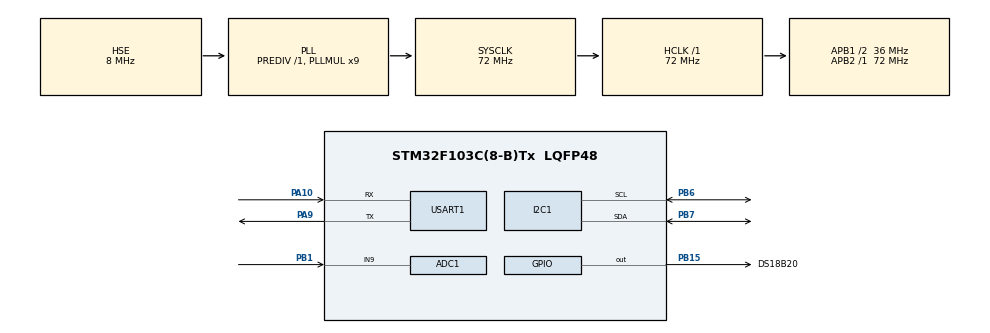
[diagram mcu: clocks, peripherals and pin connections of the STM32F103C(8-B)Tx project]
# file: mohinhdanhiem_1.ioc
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ADC1.Channel-0\#ChannelRegularConversion=ADC_CHANNEL_9
ADC1.NbrOfConversionFlag=1
ADC1.Rank-0\#ChannelRegularConversion=1
ADC1.SamplingTime-0\#ChannelRegularConversion=ADC_SAMPLETIME_1CYCLE_5
ADC1.master=1
FREERTOS.Tasks01=Task1,0,128,readTemp,Default,NULL,Dynamic,NULL,NULL;Task2,0,128,readHum,Default,NULL,Dynamic,NULL,NULL;Task3,1,128,Display_LCD_UART,Default,NULL,Dynamic,NULL,NULL
Mcu.Family=STM32F1
Mcu.Name=STM32F103C(8-B)Tx
Mcu.Package=LQFP48
NVIC.PriorityGroup=NVIC_PRIORITYGROUP_4
NVIC.TIM1_UP_IRQn=true\:15\:0\:false\:false\:true\:false\:false\:true\:true
NVIC.TimeBase=TIM1_UP_IRQn
NVIC.TimeBaseIP=TIM1
NVIC.USART1_IRQn=true\:5\:0\:false\:false\:true\:true\:true\:true\:true
PA10.Mode=Asynchronous
PA10.Signal=USART1_RX
PA13.Mode=Serial_Wire
PA13.Signal=SYS_JTMS-SWDIO
PA14.Mode=Serial_Wire
PA14.Signal=SYS_JTCK-SWCLK
PA9.Mode=Asynchronous
PA9.Signal=USART1_TX
PB1.Signal=ADCx_IN9
PB15.GPIO_Label=DS18B20
PB15.Signal=GPIO_Output
PB6.Mode=I2C
PB6.Signal=I2C1_SCL
PB7.Mode=I2C
PB7.Signal=I2C1_SDA
PD0-OSC_IN.Mode=HSE-External-Oscillator
PD0-OSC_IN.Signal=RCC_OSC_IN
PD1-OSC_OUT.Mode=HSE-External-Oscillator
PD1-OSC_OUT.Signal=RCC_OSC_OUT
ProjectManager.HeapSize=0x200
ProjectManager.StackSize=0x400
ProjectManager.TargetToolchain=STM32CubeIDE
RCC.ADCPresc=RCC_ADCPCLK2_DIV6
RCC.AHBFreq_Value=72000000
RCC.APB1CLKDivider=RCC_HCLK_DIV2
RCC.APB1Freq_Value=36000000
RCC.APB1TimFreq_Value=72000000
RCC.APB2Freq_Value=72000000
RCC.APB2TimFreq_Value=72000000
RCC.HCLKFreq_Value=72000000
RCC.PLLMUL=RCC_PLL_MUL9
RCC.PLLSourceVirtual=RCC_PLLSOURCE_HSE
RCC.SYSCLKFreq_VALUE=72000000
RCC.SYSCLKSource=RCC_SYSCLKSOURCE_PLLCLK
RCC.USBFreq_Value=72000000
SH.ADCx_IN9.0=ADC1_IN9,IN9
TIM4.Prescaler=72-1
USART1.VirtualMode=VM_ASYNC
VP_FREERTOS_VS_CMSIS_V1.Mode=CMSIS_V1
VP_SYS_VS_tim1.Mode=TIM1
VP_TIM4_VS_ClockSourceINT.Mode=Internal
board=custom

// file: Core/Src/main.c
/* USER CODE BEGIN Header */
/**
  ******************************************************************************
  * @file           : main.c
  * @brief          : Main program body
  ******************************************************************************
  * @attention
  *
  * Copyright (c) 2025 STMicroelectronics.
  * All rights reserved.
  *
  * This software is licensed under terms that can be found in the LICENSE file
  * in the root directory of this software component.
  * If no LICENSE file comes with this software, it is provided AS-IS.
  *
  ******************************************************************************
  */
/* USER CODE END Header */
#include "main.h"
#include "cmsis_os.h"

/* USER CODE BEGIN Includes */
#include "stdio.h"
#include "DS18B20.h"
#include "liquidcrystal_i2c.h"
#include "string.h"
/* USER CODE END Includes */

 ADC_HandleTypeDef hadc1;

I2C_HandleTypeDef hi2c1;

TIM_HandleTypeDef htim4;

UART_HandleTypeDef huart1;

osThreadId Task1Handle;
osThreadId Task2Handle;
osThreadId Task3Handle;
/* USER CODE BEGIN PV */
DS18B20_Name DS1;
uint16_t Temp = 0;    // Nhiệt độ từ DS18B20
uint16_t Humidity = 0; // �?ộ ẩm đất
uint32_t delay_temp = 500;
uint32_t delay_soil = 500;

// UART variables
uint8_t data_rx;
uint8_t uart_buffer[100];
uint8_t start_flag = 0; // Flag to control UART transmission
/* USER CODE END PV */

void SystemClock_Config(void);
static void MX_GPIO_Init(void);
static void MX_ADC1_Init(void);
static void MX_I2C1_Init(void);
static void MX_TIM4_Init(void);
static void MX_USART1_UART_Init(void);
void readTemp(void const * argument);
void readHum(void const * argument);
void Display_LCD_UART(void const * argument);

int main(void)
{

  /* MCU Configuration--------------------------------------------------------*/

  /* Reset of all peripherals, Initializes the Flash interface and the Systick. */
  HAL_Init();

  /* Configure the system clock */
  SystemClock_Config();

  /* Initialize all configured peripherals */
  MX_GPIO_Init();
  MX_ADC1_Init();
  MX_I2C1_Init();
  MX_TIM4_Init();
  MX_USART1_UART_Init();
  /* USER CODE BEGIN 2 */
      HAL_ADC_Start(&hadc1);
      DS18B20_Init(&DS1, &htim4, DS18B20_GPIO_Port, DS18B20_Pin);
      HD44780_Init(2);
      HD44780_Clear();

  /* USER CODE END 2 */

  /* Create the thread(s) */
  /* definition and creation of Task1 */
  osThreadDef(Task1, readTemp, osPriorityNormal, 0, 128);
  Task1Handle = osThreadCreate(osThread(Task1), NULL);

  /* definition and creation of Task2 */
  osThreadDef(Task2, readHum, osPriorityNormal, 0, 128);
  Task2Handle = osThreadCreate(osThread(Task2), NULL);

  /* definition and creation of Task3 */
  osThreadDef(Task3, Display_LCD_UART, osPriorityAboveNormal, 0, 128);
  Task3Handle = osThreadCreate(osThread(Task3), NULL);

  /* Start scheduler */
  osKernelStart();

  /* We should never get here as control is now taken by the scheduler */
  /* Infinite loop */
  while (1)
  {

  }
}

void SystemClock_Config(void)
{
  RCC_OscInitTypeDef RCC_OscInitStruct = {0};
  RCC_ClkInitTypeDef RCC_ClkInitStruct = {0};
  RCC_PeriphCLKInitTypeDef PeriphClkInit = {0};

  /** Initializes the RCC Oscillators according to the specified parameters
  * in the RCC_OscInitTypeDef structure.
  */
  RCC_OscInitStruct.OscillatorType = RCC_OSCILLATORTYPE_HSE;
  RCC_OscInitStruct.HSEState = RCC_HSE_ON;
  RCC_OscInitStruct.HSEPredivValue = RCC_HSE_PREDIV_DIV1;
  RCC_OscInitStruct.HSIState = RCC_HSI_ON;
  RCC_OscInitStruct.PLL.PLLState = RCC_PLL_ON;
  RCC_OscInitStruct.PLL.PLLSource = RCC_PLLSOURCE_HSE;
  RCC_OscInitStruct.PLL.PLLMUL = RCC_PLL_MUL9;
  if (HAL_RCC_OscConfig(&RCC_OscInitStruct) != HAL_OK)
  {
    Error_Handler();
  }

  /** Initializes the CPU, AHB and APB buses clocks
  */
  RCC_ClkInitStruct.ClockType = RCC_CLOCKTYPE_HCLK|RCC_CLOCKTYPE_SYSCLK
                              |RCC_CLOCKTYPE_PCLK1|RCC_CLOCKTYPE_PCLK2;
  RCC_ClkInitStruct.SYSCLKSource = RCC_SYSCLKSOURCE_PLLCLK;
  RCC_ClkInitStruct.AHBCLKDivider = RCC_SYSCLK_DIV1;
  RCC_ClkInitStruct.APB1CLKDivider = RCC_HCLK_DIV2;
  RCC_ClkInitStruct.APB2CLKDivider = RCC_HCLK_DIV1;

  if (HAL_RCC_ClockConfig(&RCC_ClkInitStruct, FLASH_LATENCY_2) != HAL_OK)
  {
    Error_Handler();
  }
  PeriphClkInit.PeriphClockSelection = RCC_PERIPHCLK_ADC;
  PeriphClkInit.AdcClockSelection = RCC_ADCPCLK2_DIV6;
  if (HAL_RCCEx_PeriphCLKConfig(&PeriphClkInit) != HAL_OK)
  {
    Error_Handler();
  }
}

static void MX_ADC1_Init(void)
{

  ADC_ChannelConfTypeDef sConfig = {0};

  /** Common config
  */
  hadc1.Instance = ADC1;
  hadc1.Init.ScanConvMode = ADC_SCAN_DISABLE;
  hadc1.Init.ContinuousConvMode = DISABLE;
  hadc1.Init.DiscontinuousConvMode = DISABLE;
  hadc1.Init.ExternalTrigConv = ADC_SOFTWARE_START;
  hadc1.Init.DataAlign = ADC_DATAALIGN_RIGHT;
  hadc1.Init.NbrOfConversion = 1;
  if (HAL_ADC_Init(&hadc1) != HAL_OK)
  {
    Error_Handler();
  }

  /** Configure Regular Channel
  */
  sConfig.Channel = ADC_CHANNEL_9;
  sConfig.Rank = ADC_REGULAR_RANK_1;
  sConfig.SamplingTime = ADC_SAMPLETIME_1CYCLE_5;
  if (HAL_ADC_ConfigChannel(&hadc1, &sConfig) != HAL_OK)
  {
    Error_Handler();
  }

}

static void MX_I2C1_Init(void)
{

  hi2c1.Instance = I2C1;
  hi2c1.Init.ClockSpeed = 100000;
  hi2c1.Init.DutyCycle = I2C_DUTYCYCLE_2;
  hi2c1.Init.OwnAddress1 = 0;
  hi2c1.Init.AddressingMode = I2C_ADDRESSINGMODE_7BIT;
  hi2c1.Init.DualAddressMode = I2C_DUALADDRESS_DISABLE;
  hi2c1.Init.OwnAddress2 = 0;
  hi2c1.Init.GeneralCallMode = I2C_GENERALCALL_DISABLE;
  hi2c1.Init.NoStretchMode = I2C_NOSTRETCH_DISABLE;
  if (HAL_I2C_Init(&hi2c1) != HAL_OK)
  {
    Error_Handler();
  }

}

static void MX_TIM4_Init(void)
{

  TIM_ClockConfigTypeDef sClockSourceConfig = {0};
  TIM_MasterConfigTypeDef sMasterConfig = {0};

  htim4.Instance = TIM4;
  htim4.Init.Prescaler = 72-1;
  htim4.Init.CounterMode = TIM_COUNTERMODE_UP;
  htim4.Init.Period = 65535;
  htim4.Init.ClockDivision = TIM_CLOCKDIVISION_DIV1;
  htim4.Init.AutoReloadPreload = TIM_AUTORELOAD_PRELOAD_DISABLE;
  if (HAL_TIM_Base_Init(&htim4) != HAL_OK)
  {
    Error_Handler();
  }
  sClockSourceConfig.ClockSource = TIM_CLOCKSOURCE_INTERNAL;
  if (HAL_TIM_ConfigClockSource(&htim4, &sClockSourceConfig) != HAL_OK)
  {
    Error_Handler();
  }
  sMasterConfig.MasterOutputTrigger = TIM_TRGO_RESET;
  sMasterConfig.MasterSlaveMode = TIM_MASTERSLAVEMODE_DISABLE;
  if (HAL_TIMEx_MasterConfigSynchronization(&htim4, &sMasterConfig) != HAL_OK)
  {
    Error_Handler();
  }

}

static void MX_USART1_UART_Init(void)
{

  huart1.Instance = USART1;
  huart1.Init.BaudRate = 115200;
  huart1.Init.WordLength = UART_WORDLENGTH_8B;
  huart1.Init.StopBits = UART_STOPBITS_1;
  huart1.Init.Parity = UART_PARITY_NONE;
  huart1.Init.Mode = UART_MODE_TX_RX;
  huart1.Init.HwFlowCtl = UART_HWCONTROL_NONE;
  huart1.Init.OverSampling = UART_OVERSAMPLING_16;
  if (HAL_UART_Init(&huart1) != HAL_OK)
  {
    Error_Handler();
  }

}

static void MX_GPIO_Init(void)
{
  GPIO_InitTypeDef GPIO_InitStruct = {0};

  /* GPIO Ports Clock Enable */
  __HAL_RCC_GPIOD_CLK_ENABLE();
  __HAL_RCC_GPIOB_CLK_ENABLE();
  __HAL_RCC_GPIOA_CLK_ENABLE();

  /*Configure GPIO pin Output Level */
  HAL_GPIO_WritePin(DS18B20_GPIO_Port, DS18B20_Pin, GPIO_PIN_RESET);

  /*Configure GPIO pin : DS18B20_Pin */
  GPIO_InitStruct.Pin = DS18B20_Pin;
  GPIO_InitStruct.Mode = GPIO_MODE_OUTPUT_PP;
  GPIO_InitStruct.Pull = GPIO_NOPULL;
  GPIO_InitStruct.Speed = GPIO_SPEED_FREQ_LOW;
  HAL_GPIO_Init(DS18B20_GPIO_Port, &GPIO_InitStruct);

}

void readTemp(void const * argument)
{
  /* USER CODE BEGIN 5 */
  /* Infinite loop */
  for(;;)
  {
	  Temp = DS18B20_ReadTemp(&DS1);
	  osDelay(delay_temp);
  }
  /* USER CODE END 5 */
}

void readHum(void const * argument)
{
  /* USER CODE BEGIN readHum */
  /* Infinite loop */
  for(;;)
  {
	  HAL_ADC_Start(&hadc1);
	  HAL_ADC_PollForConversion(&hadc1, 1000);
	  uint16_t Hum = HAL_ADC_GetValue(&hadc1);
	  Humidity = (Hum * 100) / 4095;
	  HAL_ADC_Stop(&hadc1);
	  osDelay(delay_soil);
  }
  /* USER CODE END readHum */
}

void Display_LCD_UART(void const * argument)
{
  /* USER CODE BEGIN Display_LCD_UART */
  /* Infinite loop */
  for(;;)
  {
	  // Display on LCD
	  char buffer[32];
	  HD44780_Clear();
	  HD44780_SetCursor(0, 0);
	  sprintf(buffer, "Temperature: %d C", Temp);
	  HD44780_PrintStr(buffer);

	  HD44780_SetCursor(0, 1);
	  sprintf(buffer, "Humidity: %d %%", Humidity);
	  HD44780_PrintStr(buffer);

	  // Transmit data via UART
	  if (start_flag)
	         {
	             sprintf(buffer, "Temperature: %d; Humidity: %d\n", Temp, Humidity);
	             HAL_UART_Transmit(&huart1, (uint8_t *)buffer, strlen(buffer), 1000);
	         }

	  osDelay(500); // Delay to control display update frequency
  }
  /* USER CODE END Display_LCD_UART */
}

/* UART Callback */
void HAL_UART_RxCpltCallback(UART_HandleTypeDef *huart)
{
    if (huart->Instance == USART1)
    {
        uart_buffer[strlen((char *)uart_buffer)] = data_rx;
        if (data_rx == '\n')
        {
            if (strstr((char *)uart_buffer, "START") != NULL)
                start_flag = 1;
            else if (strstr((char *)uart_buffer, "STOP") != NULL)
                start_flag = 0;
            else if (strstr((char *)uart_buffer, "SET_DELAY_TEMP") != NULL)
                sscanf((char *)uart_buffer, "SET_DELAY_TEMP=%lu", &delay_temp);
            else if (strstr((char *)uart_buffer, "SET_DELAY_SOIL") != NULL)
                sscanf((char *)uart_buffer, "SET_DELAY_SOIL=%lu", &delay_soil);

            memset(uart_buffer, 0, sizeof(uart_buffer));
        }

        HAL_UART_Receive_IT(&huart1, &data_rx, 1);
    }
}
void HAL_TIM_PeriodElapsedCallback(TIM_HandleTypeDef *htim)
{
  if (htim->Instance == TIM1) {
    HAL_IncTick();
  }
}

void Error_Handler(void)
{
  __disable_irq();
  while (1)
  {
  }
}
